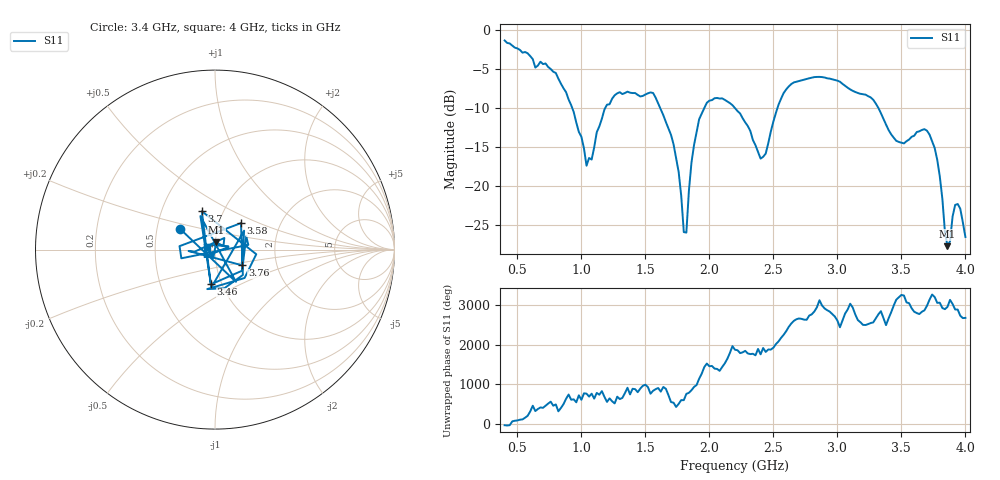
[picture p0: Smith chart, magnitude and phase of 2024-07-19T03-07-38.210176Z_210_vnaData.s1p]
!Created with skrf (http://scikit-rf.org).
# Hz S RI R 50.0
!freq ReS11 ImS11
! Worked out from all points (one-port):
!   181 points, 400 MHz to 4 GHz, reference 50 ohm
!   lowest |S11| = -27.7 dB at 3.86 GHz (marker M1), VSWR 1.09, Z = 50.6 + j4.11 ohm
!   |S11| at or under -10 dB: 1.616 GHz to 1.96 GHz (344.7 MHz wide, 19.3 % of centre); 2.199 GHz to 2.532 GHz (333.1 MHz wide, 14.1 % of centre); 3.32 GHz to end of sweep (the widest 3 of 4)
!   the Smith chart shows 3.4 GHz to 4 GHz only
!   S11 on the Smith chart (normalised r, x): 3.4 GHz: 0.66, +0.16; 3.46 GHz: 0.89, -0.36; 3.58 GHz: 1.27, +0.39; 3.7 GHz: 0.79, +0.36; 3.76 GHz: 1.33, -0.24; 4 GHz: 0.91, +0.03
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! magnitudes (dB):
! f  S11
! 400 MHz  -1.4
! 860 MHz  -7.5
! 1.04 GHz  -17.4
! 1.18 GHz  -10.2
! 1.3 GHz  -8.0
! 1.56 GHz  -8.1
! 1.7 GHz  -13.4
! 1.76 GHz  -18.2
! 1.8 GHz  -25.9
! 1.82 GHz  -26.0
! 1.86 GHz  -17.0
! 1.92 GHz  -11.4
! 2.04 GHz  -8.8
! 2.2 GHz  -10.0
! 2.4 GHz  -16.5
! 2.56 GHz  -8.8
! 2.66 GHz  -6.7
! 3.1 GHz  -7.6
! 3.28 GHz  -9.0
! 3.4 GHz  -12.8
! 3.46 GHz  -14.2
! 3.56 GHz  -14.0
! 3.58 GHz  -13.7
! 3.7 GHz  -12.9
! 3.76 GHz  -15.1
! 3.86 GHz  -27.7
! 3.92 GHz  -22.4
! 4 GHz  -26.5
